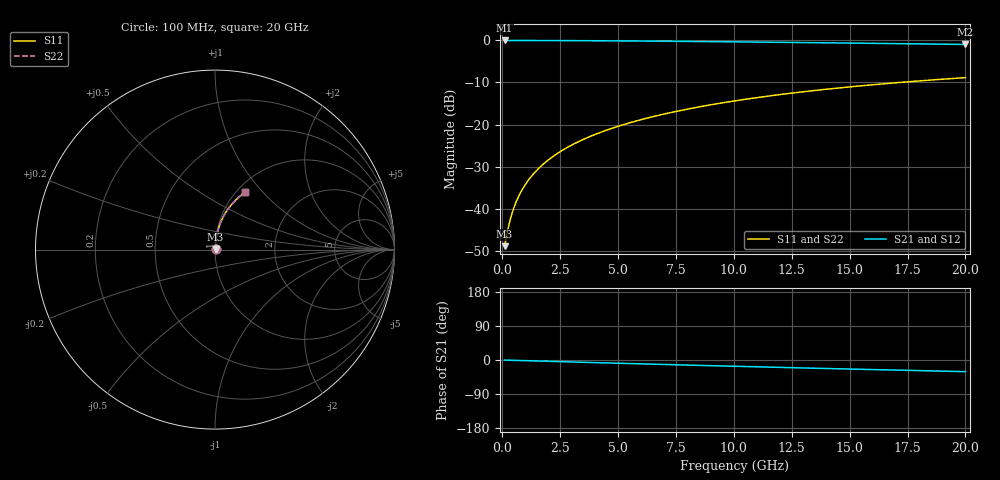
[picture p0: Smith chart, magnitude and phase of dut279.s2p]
! Touchstone file exported from HFSS 2024.1.0
!  File:  C:/UserFiles/LocalFiles/RDL_TSV_Batchsim/temp_RDL_bottom_279_1778702913.aedt
!  Generated:  04:11:15 AM May 14, 2026
!  Design:  RDL_bottom
!  Project:  temp_RDL_bottom_279_1778702913
!  Setup:  Setup1
!  Solution:  Sweep
! Variables:
!  dtsv = 10.80580581um
!  hbump = 3um
!  htsv = 64.45um
!  ldown = 375.54um
!  lrdl = 100um
!  p = 40
!  p1 = 48.52um
!  rhole = 1um
!  t = 450um
!  tdown = 3.31um
!  trdl = 3.915915916um
!  wdown = 14.11um
!  wrdl = 20um
# GHz S MA R 50.000000
! Terminal data exported
! Port[1] = RDL1_T1
! Port[2] = RDL1_T2
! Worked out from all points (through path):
!   200 points, 100 MHz to 20 GHz, reference 50 ohm
!   highest |S21| = -0.03 dB at 100 MHz (marker M1); lowest = -1.0 dB at 20 GHz (marker M2)
!   group delay of S21, straight-line fit = 4.26 ps
!   lowest |S11| = -48.9 dB at 100 MHz (marker M3), VSWR 1.01, Z = 50.3 + j0.199 ohm
!   |S11| at or under -10 dB: start of sweep to 17.17 GHz
!   |S22| runs from -48.9 to -8.9 dB; largest |S21 - S12| = 4.1e-15
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0.1  0.003587 33.6  0.997 -0.2  0.997 -0.2  0.003587 33.6
! Gamma 0 0 0 0
! Port Impedance 50 0 50 0
0.2  0.004988 52.3  0.9969 -0.4  0.9969 -0.4  0.004988 52.3
0.3  0.006669 62.0  0.9969 -0.5  0.9969 -0.5  0.006669 62.0
0.4  0.008445 67.6  0.9968 -0.7  0.9968 -0.7  0.008445 67.6
0.5  0.01025 71.1  0.9967 -0.9  0.9967 -0.9  0.01025 71.1
0.6  0.01208 73.6  0.9965 -1.1  0.9965 -1.1  0.01208 73.6
0.8  0.01576 76.8  0.9963 -1.4  0.9963 -1.4  0.01576 76.8
1.1  0.02131 79.5  0.996 -1.9  0.996 -1.9  0.02131 79.5
1.5  0.02878 81.3  0.9954 -2.6  0.9954 -2.6  0.02878 81.3
1.8  0.03441 82.1  0.995 -3.1  0.995 -3.1  0.03441 82.1
2.1  0.04006 82.5  0.9944 -3.7  0.9944 -3.7  0.04006 82.5
2.7  0.0514 82.9  0.9931 -4.7  0.9931 -4.7  0.05139 82.9
3.5  0.06658 82.8  0.9909 -6.1  0.9909 -6.1  0.06658 82.8
4.2  0.07992 82.4  0.9885 -7.2  0.9885 -7.2  0.07992 82.4
5  0.0952 81.8  0.9855 -8.6  0.9855 -8.6  0.0952 81.8
5.9  0.1124 80.9  0.9817 -10.1  0.9817 -10.1  0.1124 80.9
6.8  0.1296 79.9  0.9775 -11.5  0.9775 -11.5  0.1296 79.9
8.3  0.1582 78.0  0.9697 -13.9  0.9697 -13.9  0.1582 78.0
10.1  0.1921 75.7  0.9595 -16.7  0.9595 -16.7  0.1921 75.7
13.4  0.2521 71.1  0.9391 -21.6  0.9391 -21.6  0.2521 71.1
16.7  0.3086 66.5  0.9169 -26.3  0.9169 -26.3  0.3085 66.5
20  0.3607 62.1  0.8937 -30.7  0.8937 -30.7  0.3607 62.1
